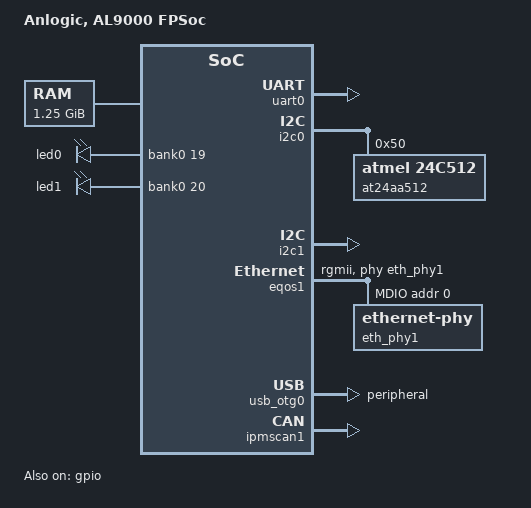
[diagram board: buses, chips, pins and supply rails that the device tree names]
/dts-v1/;
#include <dt-bindings/gpio/gpio.h>
#include <dt-bindings/interrupt-controller/arm-gic.h>

#define FPGA_SIMULATION

/ {
	model = "Anlogic, AL9000 FPSoc";
	compatible = "anlogic,al9000";

	#address-cells = <2>;
	#size-cells = <2>;

	interrupt-parent = <&gic>;

	aliases {
		uart0 = &uart0;
		/*eqos0 = &eqos0;*/
		eqos1 = &eqos1;
	};
	/*
	chosen {
		bootargs = "console=ttyS1,115200n8";
		stdout-path = &uart1;
	};
	*/

	chosen {
		bootargs = "console=ttyS0,115200n8 earlycon=uart,mmio32,0xf8400000 loglevel=8";
		stdout-path = &uart0;
	};

	memory@0x00000000 {
		device_type = "memory";
		reg = <0 0x00000000 0 0x50000000>;
	};

	GBE_CLK: GBE_CLK {
		#clock-cells = <0>;
		compatible = "fixed-clock";
		clock-frequency = <25000000>;
		clock-output-names = "GBE_CLK";
	};

	PHY_CLK: PHY_CLK {
		#clock-cells = <0>;
		compatible = "fixed-clock";
		clock-frequency = <25000000>;
		clock-output-names = "PHY_CLK";
	};

	PTP_CLK: PTP_CLK {
		#clock-cells = <0>;
		compatible = "fixed-clock";
		clock-frequency = <50000000>;
		clock-output-names = "PTP_CLK";
	};

	CAN_CLK: CAN_CLK {
		#clock-cells = <0>;
		compatible = "fixed-clock";
		clock-frequency = <80000000>;
		clock-output-names = "CAN_CLK";
	};

	IIC_CLK: IIC_CLK {
			#clock-cells = <0>;
			compatible = "fixed-clock";
			clock-frequency = <40000000>;
			clock-output-names = "IIC_CLK";
	};

	GPIO_CLK: GPIO_CLK {
		#clock-cells = <0>;
		compatible = "fixed-clock";
		clock-frequency = <25000000>;
		clock-output-names = "GPIO_CLK";
	};

	cpus {
		#address-cells = <2>;
		#size-cells = <0>;

		cpu0: cpu@0 {
			device_type = "cpu";
			compatible = "arm,cortex-a35";
			reg = <0x0 0x0>;
			enable-method = "psci";
			clock-frequency = <50000000>;
			next-level-cache = <&l2>;
		};

#if 1
		cpu1: cpu@1 {
			device_type = "cpu";
			compatible = "arm,cortex-a35";
			reg = <0x0 0x1>;
			enable-method = "psci";
			next-level-cache = <&l2>;
		};
#endif

		l2: l2-cache {
			compatible = "cache";
		};
	};

	psci {
		compatible = "arm,psci-1.0", "arm,psci-0.2";
		method = "smc";
		status = "okay";
	};

	timer: timer {
		compatible = "arm,armv8-timer";
		interrupts = <GIC_PPI 13 IRQ_TYPE_LEVEL_LOW>,
		             <GIC_PPI 14 IRQ_TYPE_LEVEL_LOW>,
		             <GIC_PPI 11 IRQ_TYPE_LEVEL_LOW>,
		             <GIC_PPI 10 IRQ_TYPE_LEVEL_LOW>;

#ifdef FPGA_SIMULATION
		clock-frequency = <50000000>;
#else
		clock-frequency = <250000000>;
#endif
		always-on;
		interrupt-parent = <&gic>;
		arm,cpu-registers-not-fw-configured;
	};

	gic: interrupt-controller@0xdd000000 {
		compatible = "arm,gic-v3";
		#redistributor-regions = <1>;
		redistributor-stride = <0x0 0x20000>;

		reg = <0x0 0xdd000000 0 0x20000>, /* GIC Dist */
			  <0x0 0xdd040000 0 0x40000>;

		#interrupt-cells = <3>;
		interrupt-controller;
		interrupts = <GIC_PPI 9 IRQ_TYPE_LEVEL_HIGH>;
	};

	soc {
		compatible = "simple-bus";
		#address-cells = <2>;
		#size-cells = <2>;
		ranges;
		dma-ranges;

		uart0: serial@0xF8400000 {
			compatible = "snps,dw-apb-uart";
			reg = <0 0xF8400000 0 0x1000>;
			interrupts = <GIC_SPI 70 IRQ_TYPE_LEVEL_HIGH>;
			reg-shift = <2>;
			reg-io-width = <4>;

#ifdef FPGA_SIMULATION
			clock-frequency = <40000000>;
#else
			clock-frequency = <150000000>;
#endif
			status = "okay";
		};
		/*
		uart1: serial@0xF8401000 {
			compatible = "snps,dw-apb-uart";
			reg = <0xF8401000 0x1000>;
			interrupts = <GIC_SPI 71 IRQ_TYPE_LEVEL_HIGH>;
			reg-shift = <2>;
			reg-io-width = <4>;

#ifdef FPGA_SIMULATION
			clock-frequency = <40000000>;
#else
			clock-frequency = <150000000>;
#endif
			status = "okay";
		};
		*/
		i2c0: i2c0@f8414000 {
			compatible = "snps,designware-i2c";
			interrupts = <GIC_SPI 64 IRQ_TYPE_LEVEL_HIGH>;
			reg = <0 0xF8414000 0 0x1000>;
			clocks = <&IIC_CLK>;
			clock-names = "IIC_CLK";
			i2c-scl-rising-time-ns = <100>;  /* Fast mode */
			i2c-scl-falling-time-ns = <100>;
			i2c-sda-hold-time-ns = <100>;
			#address-cells = <1>;
			#size-cells = <0>;
			status = "okay";

			at24aa512: eeprom@50 {
				compatible = "atmel,24c512"; /* 64K Bytes, at24AA512 */
				reg = <0x50>;
				pagesize = <8>;
				address-width = <16>;
				status = "okay";
			};
		};

		i2c1: i2c1@f8415000 {
			compatible = "snps,designware-i2c";
			interrupts = <GIC_SPI 65 IRQ_TYPE_LEVEL_HIGH>;
			reg = <0 0xF8415000 0 0x1000>;
			clocks = <&IIC_CLK>;
			clock-names = "IIC_CLK";
			i2c-scl-rising-time-ns = <100>;  /* Fast mode */
			i2c-scl-falling-time-ns = <100>;
			i2c-sda-hold-time-ns = <100>;
			#address-cells = <1>;
			#size-cells = <0>;
			status = "okay";
		};

		gpio: gpio@f8411000 {
			compatible = "snps,dw-apb-anlogic-gpio";
			reg = <0x0 0xf8411000 0x0 0x1000>;
			clocks = <&GPIO_CLK>;
			#address-cells = <1>;
			#size-cells = <0>;
			status = "okay";

			bank0: gpio-controller@0 {
				compatible = "snps,dw-apb-gpio-port";
				interrupts = <GIC_SPI 52 IRQ_TYPE_LEVEL_HIGH>;
				bank-name = "MIO-Bank0";
				gpio-controller;
				#gpio-cells = <2>;
				snps,nr-gpios = <32>;
				reg = <0>;
				interrupt-controller;
				#interrupt-cells = <2>;
			};

			bank1: gpio-controller@1 {
				compatible = "snps,dw-apb-gpio-port";
				interrupts = <GIC_SPI 53 IRQ_TYPE_LEVEL_HIGH>;
				bank-name = "MIO-Bank1";
				gpio-controller;
				#gpio-cells = <2>;
				snps,nr-gpios = <22>;
				reg = <0>;
				interrupt-controller;
				#interrupt-cells = <2>;
			};

			bank2: gpio-controller@2 {
				compatible = "snps,dw-apb-gpio-port";
				interrupts = <GIC_SPI 54 IRQ_TYPE_LEVEL_HIGH>;
				bank-name = "EMIO-Bank2";
				gpio-controller;
				#gpio-cells = <2>;
				snps,nr-gpios = <32>;
				reg = <0>;
				interrupt-controller;
				#interrupt-cells = <2>;
			};

			bank3: gpio-controller@3 {
				compatible = "snps,dw-apb-gpio-port";
				interrupts = <GIC_SPI 55 IRQ_TYPE_LEVEL_HIGH>;
				bank-name = "MIO-Bank3";
				gpio-controller;
				#gpio-cells = <2>;
				snps,nr-gpios = <32>;
				reg = <0>;
				interrupt-controller;
				#interrupt-cells = <2>;
			};
		};
	};

	leds {
		compatible = "gpio-leds";
		led0 {
			gpios = <&bank0 19 GPIO_ACTIVE_HIGH>;
			linux,default-trigger = "timer";
			status = "okay";
		};
		led1 {
			gpios = <&bank0 20 GPIO_ACTIVE_HIGH>;
			linux,default-trigger = "heartbeat";
			status = "okay";
		};
	};

#if 0
eqos0: ethernet0@F8100000 {
		compatible = "snps,dwmac-5.10a";
		#address-cells = <2>;
		#size-cells = <2>;
		reg = <0x0 0xF8100000 0x0 0x10000>;
		interrupts = <GIC_SPI 58 IRQ_TYPE_LEVEL_HIGH>;
		mac-address = [00 00 00 00 00 00];
		clocks =  <&GBE_CLK>, <&PTP_CLK>;
		clock-names = "stmmaceth", "ptp_ref";
		tx-fifo-depth = <16384>;
		rx-fifo-depth = <16384>;
		phy-handle = <&eth_phy0>;
		phy-mode = "rgmii";
		phy-addr = <0x001>;
		status = "okay";

		mdio {
		compatible = "snps,dwmac-mdio";
		#address-cells = <1>;
		#size-cells = <0>;

		eth_phy0: ethernet-phy@0 {
			/* Realtek RTL8211F (0x001cc916) */
			reg = <0>;
			reset-assert-us = <10000>;
			reset-deassert-us = <30000>;

		};
		};
	};
#endif

	eqos1: ethernet1@F8110000 {
		compatible = "snps,dwc-qos-ethernet-4.10";
		#address-cells = <2>;
		#size-cells = <2>;
		reg = <0x0 0xF8110000 0x0 0x10000>;
		interrupts = <GIC_SPI 59 IRQ_TYPE_LEVEL_HIGH>;    /*59*/
		mac-address = [e0 78 a3 01 02 03];
		clocks = <&GBE_CLK>,<&PHY_CLK>,<&PTP_CLK>;
		clock-names = "apb_pclk","phy_ref_clk","ptp_ref";
		tx-fifo-depth = <16384>;
		rx-fifo-depth = <16384>;
		phy-handle = <&eth_phy1>;
		phy-mode = "rgmii";
		phy-addr = <0x011>;
		status = "okay";

		mdio {
			compatible = "snps,dwmac-mdio";
			#address-cells = <1>;
			#size-cells = <0>;

			eth_phy1: ethernet-phy@1 {
				/* Realtek RTL8211F (0x001cc916) */
				reg = <0>;
				reset-assert-us = <10000>;
				reset-deassert-us = <30000>;
           };
		};
	};

	usb_otg0: usb@F8180000 {
        compatible = "snps,dwc2";
        reg = <0x0 0xF8180000 0x0 0x40000>;
        interrupts = <GIC_SPI 56 IRQ_TYPE_LEVEL_HIGH>;
        //clocks = <&cru HCLK_OTG0>;
        //clock-names = "otg";
        dr_mode = "peripheral";
        //dr_mode = "host";
        g-np-tx-fifo-size = <32>;
        g-rx-fifo-size = <768>;
        g-tx-fifo-size = <512 512 512 32 16 16 16 16 16 16 16 16 16 16 16>;
        g-use-dma;
        //phys = <&usbphy0>;
        //phy-names = "usb2-phy";
        //vbus-supply = <&vbus_regulator0>;
        status = "okay";
        //status = "disabled";
    };

	ipmscan1: can@0xF8409000 {
        compatible = "ipms,canfd";
        reg = <0x0 0xF8409000 0x0 0x1000>;
        interrupts = <GIC_SPI 73 IRQ_TYPE_LEVEL_HIGH>;
        clocks = <&CAN_CLK>;
		clock-names = "ipms_can_clk";
    };

/*
	usb_otg0: usb@F8180000 {
        compatible = "snps,dwc2";
        #address-cells = <2>;
        #size-cells = <2>;
        reg = <0x0 0xF8180000 0x0 0x40000>;
        interrupts = <GIC_SPI 56 IRQ_TYPE_LEVEL_HIGH>;
        //clocks = <&cru HCLK_OTG0>;
        //clock-names = "otg";
        //dr_mode = "peripheral";
        dr_mode = "host";
        g-np-tx-fifo-size = <32>;
        g-rx-fifo-size = <768>;
        g-tx-fifo-size = <768 512 512 32 16 16 16 16 16 16>;
        g-use-dma;
        //phys = <&usbphy0>;
        //phy-names = "usb2-phy";
        //vbus-supply = <&vbus_regulator0>;
        status = "okay";
        //status = "disabled";
    };
*/
/*
	usb_otg0: usb@F8180000 {
        compatible = "snps,dwc2";
        reg = <0x0 0xF8180000 0x0 0x40000>;
        interrupts = <GIC_SPI 56 IRQ_TYPE_LEVEL_HIGH>;
        //clocks = <&cru HCLK_OTG0>;
        //clock-names = "otg";
        //dr_mode = "peripheral";
        dr_mode = "host";
        g-np-tx-fifo-size = <32>;
        g-rx-fifo-size = <768>;
        g-tx-fifo-size = <512 512 512 32 16 16 16 16 16 16 16 16 16 16 16>;
        g-use-dma;
        //phys = <&usbphy0>;
        //phy-names = "usb2-phy";
        //vbus-supply = <&vbus_regulator0>;
        status = "okay";
        //status = "disabled";
    };
*/
};
